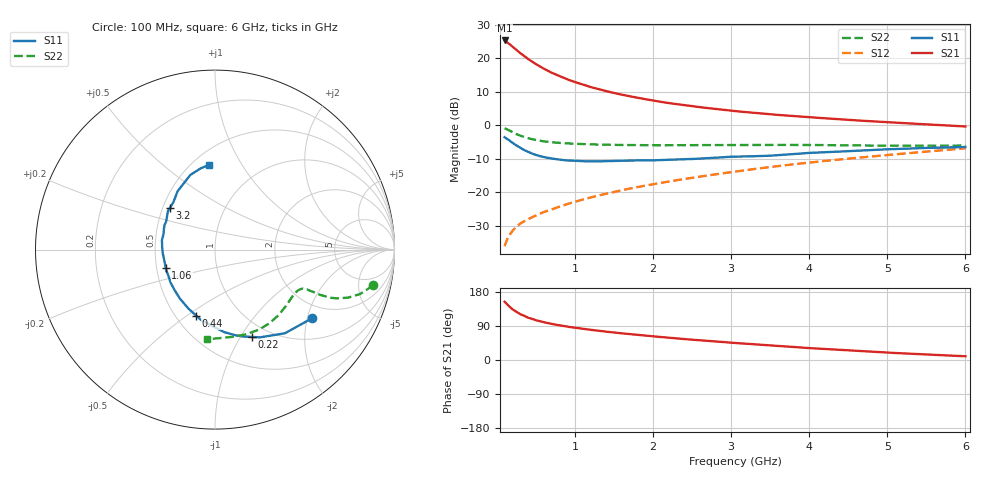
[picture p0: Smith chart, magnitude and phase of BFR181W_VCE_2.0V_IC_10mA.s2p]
! Infineon Technologies  Discrete & RF Semiconductors
! BFR181W
! VCE =  2.0 V,  IC =  10 mA
! Common Emitter S-Parameters:  Nov 2015
# GHz  S  MA  R  50
!  f  S11  S21  S12  S22
! GHz  MAG  ANG  MAG  ANG  MAG  ANG  MAG  ANG
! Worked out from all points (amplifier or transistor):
!   192 points, 100 MHz to 6 GHz, reference 50 ohm
!   highest |S21| = 25.3 dB at 100 MHz (marker M1)
!   |S21| within 3 dB of that: start of sweep to 260.7 MHz
!   unconditionally stable (mu >= 1): 815.3 MHz to 3.039 GHz
!   at 440 MHz: K = 0.76, MSG = 23.4 dB, |S12| = -27.6 dB
!   at 1.7 GHz: K = 1.11, MAG = 11.8 dB, |S12| = -18.9 dB
!   at 6 GHz: K = 0.78, MSG = 3.3 dB, |S12| = -6.9 dB
!   S11 on the Smith chart (normalised r, x): 100 MHz: 1.58, -2.15; 220 MHz: 0.83, -1.12; 440 MHz: 0.63, -0.54; 1.06 GHz: 0.56, -0.12; 3.2 GHz: 0.55, +0.29; 6 GHz: 0.60, +0.73
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0.1  0.6633 -35.1  18.4 153.8  0.0157 73.8  0.9038 -12.7
0.15  0.608 -50.0  16.67 142.9  0.022 69.0  0.8461 -17.0
0.2  0.5495 -62.8  14.93 134.0  0.0264 65.5  0.7895 -19.8
0.22  0.528 -67.1  14.27 131.4  0.0281 64.4  0.7691 -20.5
0.26  0.493 -76.1  13.04 125.9  0.0313 62.7  0.7308 -21.8
0.3  0.462 -83.8  11.93 121.0  0.0341 61.8  0.699 -22.6
0.4  0.4016 -100.8  9.752 111.7  0.0397 60.9  0.6392 -23.3
0.44  0.3829 -105.8  9.103 109.3  0.0418 61.2  0.6239 -23.3
0.5  0.3609 -114.1  8.165 105.0  0.0449 61.5  0.6009 -23.3
0.6  0.3363 -125.3  6.998 99.7  0.0506 62.4  0.5748 -23.4
0.7  0.3191 -134.8  6.09 95.1  0.0552 63.9  0.5577 -23.4
0.9  0.2981 -150.2  4.842 88.1  0.0666 66.0  0.5362 -23.9
1.06  0.2923 -159.6  4.197 83.6  0.0755 67.4  0.5258 -24.8
1.1  0.2908 -161.8  4.059 82.5  0.0778 67.6  0.5235 -25.0
1.2  0.2889 -167.3  3.718 79.6  0.0836 68.2  0.5178 -25.7
1.5  0.2936 179.9  3.026 72.5  0.1008 69.6  0.5089 -28.2
2.08  0.302 161.2  2.256 61.0  0.1367 70.7  0.5034 -34.2
3.1  0.3406 138.8  1.604 44.3  0.2069 69.5  0.5083 -47.4
3.2  0.3427 136.9  1.566 42.9  0.2147 69.1  0.5083 -49.0
4.1  0.3907 120.9  1.294 30.3  0.2852 65.3  0.5065 -63.0
5.1  0.4413 106.6  1.093 18.5  0.368 59.5  0.4949 -80.0
6  0.4735 94.0  0.959 9.9  0.453 53.3  0.4999 -94.8
